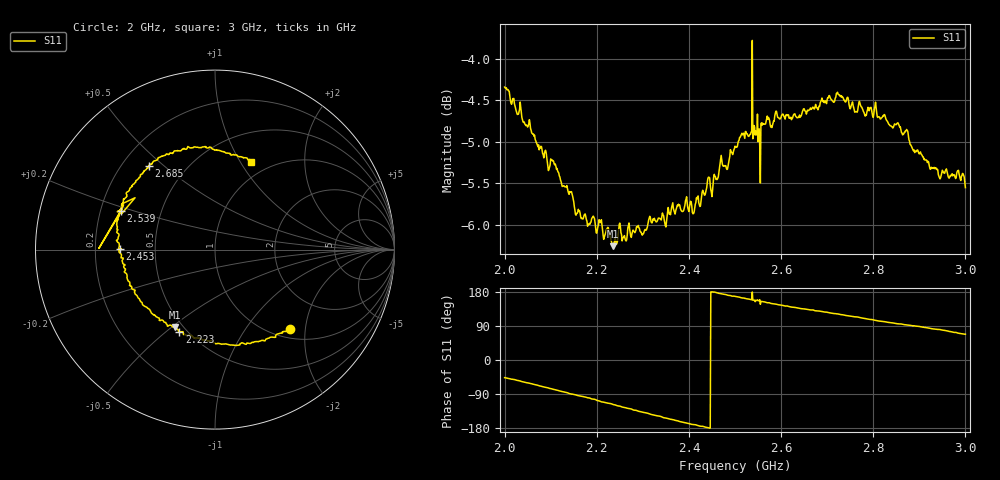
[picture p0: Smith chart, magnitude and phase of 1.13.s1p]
!Agilent Technologies,E8364A,US41440144,A.06.04.32
!Agilent E8364A: A.06.04.32
!Date: Friday, February 02, 2018 10:40:07
!Correction: S22(Full 2 Port(1,2))
!S1P File: Measurement: S22:
# Hz S  dB  R 50
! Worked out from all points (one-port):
!   801 points, 2 GHz to 3 GHz, reference 50 ohm
!   lowest |S11| = -6.3 dB at 2.235 GHz (marker M1), VSWR 2.89, Z = 22.7 - j25.6 ohm
!   |S11| at or under -10 dB: nowhere
!   S11 on the Smith chart (normalised r, x): 2 GHz: 1.18, -1.65; 2.223 GHz: 0.46, -0.55; 2.453 GHz: 0.31, +0.00; 2.539 GHz: 0.29, +0.18; 2.685 GHz: 0.31, +0.44; 3 GHz: 0.82, +1.11
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2e9  -4.34 -46.6
2.0575e9  -4.86 -62.4
2.105e9  -5.23 -77.3
2.125e9  -5.54 -83.5
2.19125e9  -5.91 -103.2
2.2225e9  -6.05 -113.6
2.235e9  -6.26 -117.4
2.25e9  -5.98 -121.8
2.31875e9  -5.98 -143.9
2.375e9  -5.77 -160.3
2.4525e9  -5.50 179.7
2.5e9  -5.06 167.9
2.53125e9  -4.93 160.4
2.5325e9  -4.91 159.9
2.53875e9  -4.97 157.8
2.5425e9  -4.82 157.8
2.54375e9  -4.92 154.0
2.54875e9  -4.67 158.8
2.56e9  -4.78 153.8
2.57e9  -4.69 151.1
2.625e9  -4.71 139.3
2.685e9  -4.53 128.6
2.725e9  -4.43 121.2
2.75e9  -4.61 115.8
2.8075e9  -4.65 104.0
2.875e9  -4.88 92.2
2.94625e9  -5.44 80.0
3e9  -5.56 67.8
